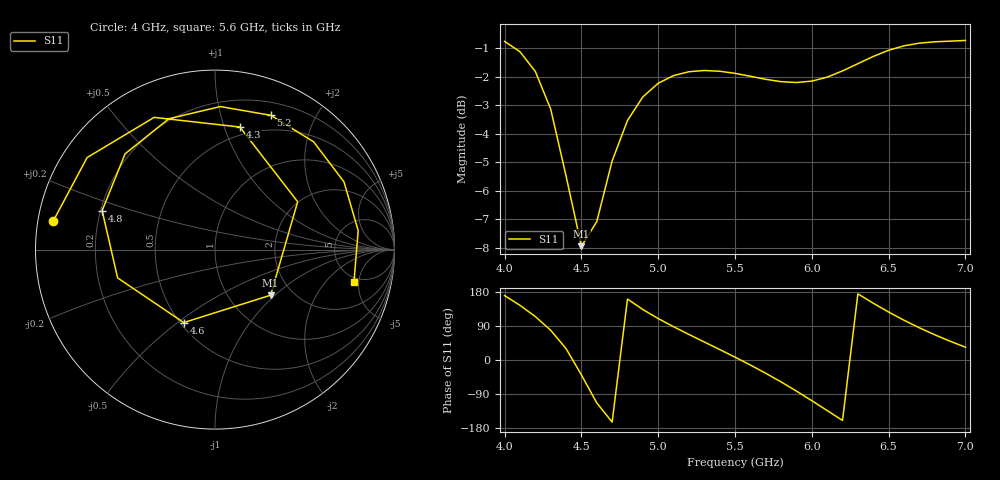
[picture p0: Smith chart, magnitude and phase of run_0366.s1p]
! Touchstone file exported from HFSS 2024.2.0
!  File:  C:/Users/wsak9/Desktop/Sim Fast/Widenad Patch/WP_AI_V1_sweep.aedt
!  Generated:  06:35:41 AM Oct 14, 2026
!  Design:  A1_model
!  Project:  WP_AI_V1_sweep
!  Setup:  Setup1
!  Solution:  Sweep
! Variables:
!  Air_gap = 3.21mm
!  Curve_Amp1 = 2.26
!  Curve_len1 = 1
!  Curve_pos = 12.74mm
!  Extra = 5.37mm
!  H_sub = 0.79mm
!  L_Patch = 21.48mm
!  L_Patch1 = 15.87mm
!  Sx = 2.92mm
!  Sy = 4.1mm
!  WS = 1.47mm
!  W_Patch = 12.78mm
!  W_Patch1 = 10.5mm
!Data is not renormalized
# GHz S MA
! Terminal data exported
! Port[1] = 1
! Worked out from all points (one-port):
!   31 points, 4 GHz to 7 GHz, reference per port
!   lowest |S11| = -7.9 dB at 4.5 GHz (marker M1), VSWR 2.34
!   |S11| at or under -10 dB: nowhere
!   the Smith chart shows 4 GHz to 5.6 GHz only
!   S11 on the Smith chart (normalised r, x): 4 GHz: 0.04, +0.09; 4.3 GHz: 0.43, +1.13; 4.6 GHz: 0.52, -0.53; 4.8 GHz: 0.21, +0.16; 5.2 GHz: 0.33, +1.45; 5.6 GHz: 4.36, -4.33
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4  0.9155 170.0
4.1  0.878 144.3
4.2  0.8109 114.7
4.3  0.6967 78.5
4.4  0.5321 30.1
4.5  0.4007 -39.3
4.6  0.4424 -113.2
4.7  0.565 -163.8
4.8  0.6654 160.9
4.9  0.7318 133.2
5  0.7732 109.4
5.1  0.7975 87.8
5.2  0.8101 67.4
5.4  0.8116 27.7
5.5  0.8048 7.6
5.6  0.7953 -13.2
5.7  0.7856 -35.0
5.9  0.7755 -82.0
6  0.7799 -107.3
6.1  0.7924 -133.3
6.2  0.8128 -159.6
6.3  0.8367 174.6
6.4  0.8615 149.9
6.5  0.8832 126.6
6.6  0.8992 105.0
6.7  0.909 85.1
6.8  0.9139 66.7
7  0.9189 33.8
